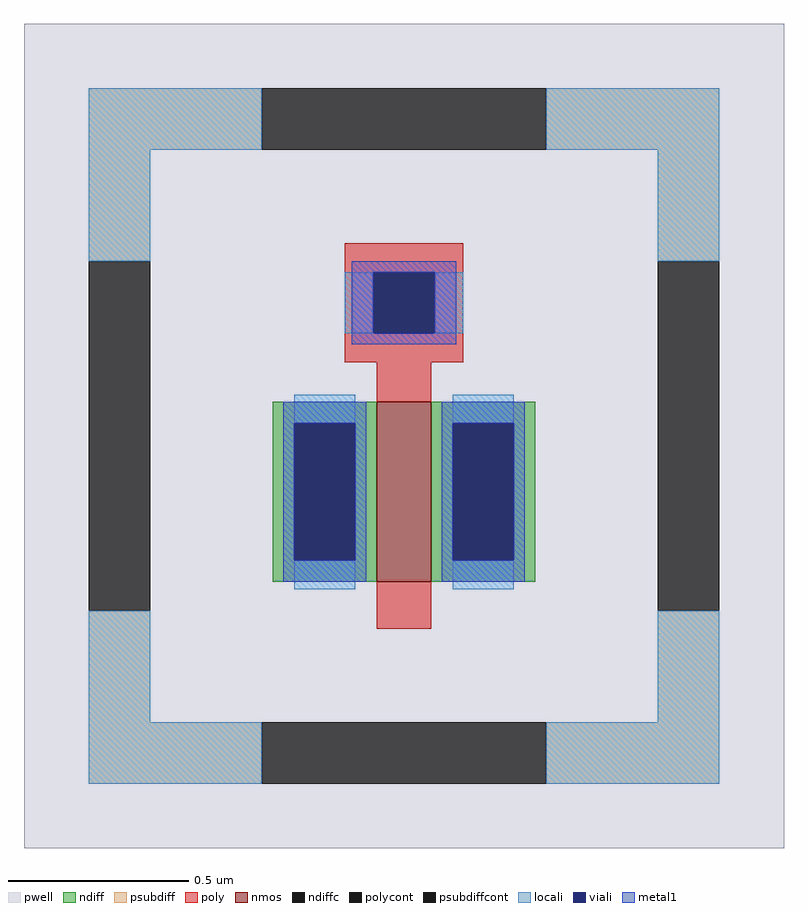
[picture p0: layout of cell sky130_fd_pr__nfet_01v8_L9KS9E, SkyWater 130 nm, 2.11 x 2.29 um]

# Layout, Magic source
magic
tech sky130A
magscale 1 2
<< pwell >>
rect -211 -229 211 229
<< nmos >>
rect -15 -81 15 19
<< ndiff >>
rect -73 7 -15 19
rect -73 -69 -61 7
rect -27 -69 -15 7
rect -73 -81 -15 -69
rect 15 7 73 19
rect 15 -69 27 7
rect 61 -69 73 7
rect 15 -81 73 -69
<< ndiffc >>
rect -61 -69 -27 7
rect 27 -69 61 7
<< psubdiff >>
rect -175 159 -79 193
rect 79 159 175 193
rect -175 97 -141 159
rect 141 97 175 159
rect -175 -159 -141 -97
rect 141 -159 175 -97
rect -175 -193 -79 -159
rect 79 -193 175 -159
<< psubdiffcont >>
rect -79 159 79 193
rect -175 -97 -141 97
rect 141 -97 175 97
rect -79 -193 79 -159
<< poly >>
rect -33 91 33 107
rect -33 57 -17 91
rect 17 57 33 91
rect -33 41 33 57
rect -15 19 15 41
rect -15 -107 15 -81
<< polycont >>
rect -17 57 17 91
<< locali >>
rect -175 159 -79 193
rect 79 159 175 193
rect -175 97 -141 159
rect 141 97 175 159
rect -33 57 -17 91
rect 17 57 33 91
rect -61 7 -27 23
rect -61 -85 -27 -69
rect 27 7 61 23
rect 27 -85 61 -69
rect -175 -159 -141 -97
rect 141 -159 175 -97
rect -175 -193 -79 -159
rect 79 -193 175 -159
<< viali >>
rect -17 57 17 91
rect -61 -69 -27 7
rect 27 -69 61 7
<< metal1 >>
rect -29 91 29 97
rect -29 57 -17 91
rect 17 57 29 91
rect -29 51 29 57
rect -67 7 -21 19
rect -67 -69 -61 7
rect -27 -69 -21 7
rect -67 -81 -21 -69
rect 21 7 67 19
rect 21 -69 27 7
rect 61 -69 67 7
rect 21 -81 67 -69
<< properties >>
string FIXED_BBOX -158 -176 158 176
string gencell sky130_fd_pr__nfet_01v8
string library sky130
string parameters w 0.5 l 0.15 m 1 nf 1 diffcov 100 polycov 100 guard 1 glc 1 grc 1 gtc 1 gbc 1 tbcov 100 rlcov 100 topc 1 botc 0 poverlap 0 doverlap 1 lmin 0.15 wmin 0.42 compatible {sky130_fd_pr__nfet_01v8 sky130_fd_pr__nfet_01v8_lvt  sky130_fd_bs_flash__special_sonosfet_star  sky130_fd_pr__nfet_g5v0d10v5 sky130_fd_pr__nfet_05v0_nvt  sky130_fd_pr__nfet_03v3_nvt} full_metal 1 viasrc 100 viadrn 100 viagate 100 viagb 0 viagr 0 viagl 0 viagt 0
<< end >>
